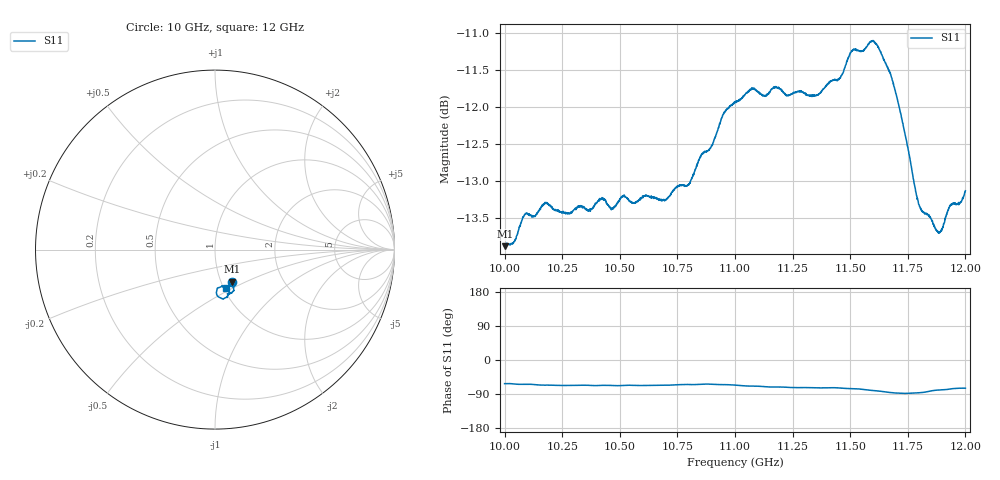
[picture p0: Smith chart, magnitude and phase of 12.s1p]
[Version] 2.0
! Rohde & Schwarz Vector Network Analyzer
! Rohde-Schwarz,ZNL20-2Port,1323001220200009,1.71.1.10-23.02.1.238
! Port Assignments:
! Nominal Port -> Actual Test Port
!  1 -> 1
! Created: GMT 2024-09-04 14:21:05
# Hz S DB R 50
[Number of Ports] 1
! freq[Hz]  S11[mag dB]  S11[ang]
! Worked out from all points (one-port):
!   2001 points, 10 GHz to 12 GHz, reference 50 ohm
!   lowest |S11| = -13.9 dB at 10 GHz (marker M1), VSWR 1.51, Z = 56.2 - j21 ohm
!   |S11| at or under -10 dB: start of sweep to end of sweep
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[Number of Frequencies] 28
[Network Data]
1e10  -13.87 -62.4
1.0001e10  -13.88 -62.4
1.0041e10  -13.81 -63.2
1.0092e10  -13.43 -64.0
1.0177e10  -13.30 -66.3
1.025e10  -13.41 -67.2
1.0371e10  -13.39 -67.1
1.042e10  -13.24 -67.0
1.0468e10  -13.38 -67.3
1.05e10  -13.24 -67.6
1.0692e10  -13.25 -66.4
1.075e10  -13.08 -65.4
1.0801e10  -13.04 -64.7
1.0873e10  -12.60 -63.5
1.0956e10  -12.06 -65.0
1.1e10  -11.93 -66.3
1.1076e10  -11.75 -68.8
1.125e10  -11.81 -72.7
1.1364e10  -11.83 -73.5
1.1457e10  -11.61 -74.0
1.15e10  -11.27 -75.4
1.1619e10  -11.17 -81.6
1.1683e10  -11.64 -86.3
1.175e10  -12.54 -88.0
1.1801e10  -13.34 -86.3
1.188e10  -13.69 -79.4
1.1935e10  -13.33 -76.4
1.2e10  -13.13 -74.4
[End]
